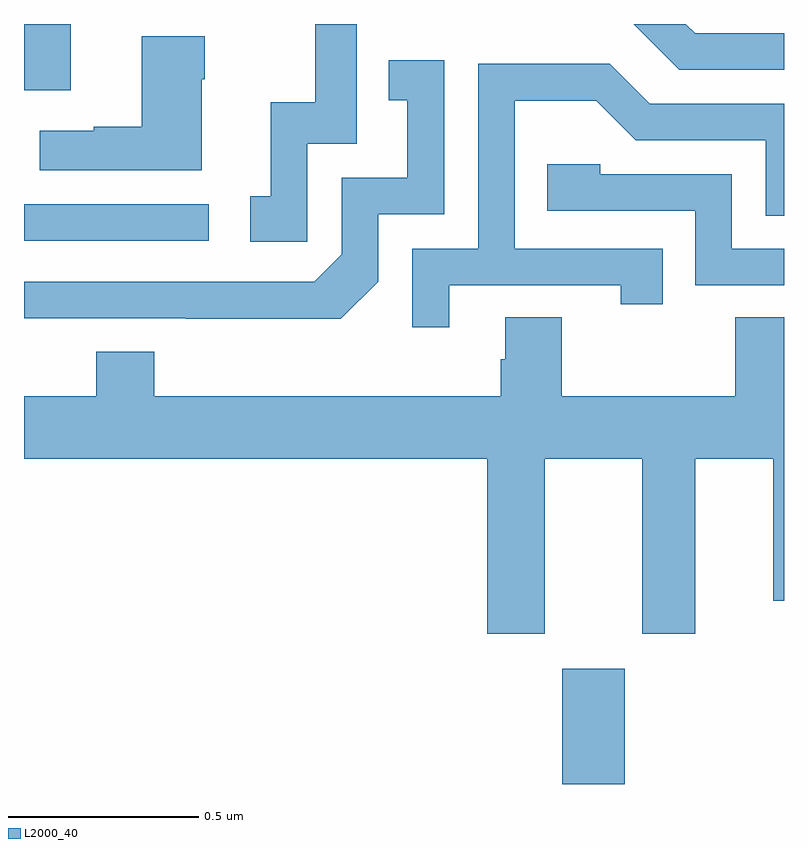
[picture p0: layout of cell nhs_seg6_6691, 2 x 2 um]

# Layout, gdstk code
import gdstk
lib = gdstk.Library(unit=1e-6, precision=1e-09)
def R(c, l, rs):  # rectangles x0, y0, x1, y1
    for r in rs: c.add(gdstk.rectangle(r[:2], r[2:], *l))
def P(c, l, *ps):  # polygons
    for p in ps: c.add(gdstk.Polygon(p, *l))
L2000_40 = (2000, 40)

nhs_seg6_6691 = lib.new_cell('nhs_seg6_6691')
R(nhs_seg6_6691, L2000_40, [(200.417,926.5,200.581,926.803), (199,927.93,199.486,928.026), (199,928.326,199.123,928.5)])
P(nhs_seg6_6691, L2000_40, [(199.746,928.185),(199.875,928.185),(199.875,928.5),(199.767,928.5),(199.767,928.294),(199.649,928.294),(199.649,928.047),(199.596,928.047),(199.596,927.927),(199.746,927.927)],
  [(201,928.476),(200.766,928.476),(200.742,928.5),(200.604,928.5),(200.724,928.38),(201,928.38)],
  [(199.468,928.355),(199.476,928.355),(199.476,928.468),(199.31,928.468),(199.31,928.229),(199.184,928.229),(199.184,928.219),(199.041,928.219),(199.041,928.115),(199.468,928.115)],
  [(199.932,927.822),(199.932,927.999),(200.106,927.999),(200.106,928.405),(199.96,928.405),(199.96,928.299),(200.009,928.299),(200.009,928.095),(199.836,928.095),(199.836,927.894),(199.764,927.822),(199,927.822),(199,927.726),(199.426,927.726),(199.426,927.725),(199.834,927.725)],
  [(200.119,927.813),(200.57,927.813),(200.57,927.762),(200.681,927.762),(200.681,927.909),(200.292,927.909),(200.292,928.298),(200.506,928.298),(200.61,928.194),(200.952,928.194),(200.952,927.996),(201,927.996),(201,928.29),(200.647,928.29),(200.542,928.395),(200.196,928.395),(200.196,927.909),(200.022,927.909),(200.022,927.702),(200.119,927.702)],
  [(201,927.909),(200.862,927.909),(200.862,928.104),(200.517,928.104),(200.517,928.131),(200.377,928.131),(200.377,928.008),(200.766,928.008),(200.766,927.813),(201,927.813)],
  [(200.371,927.356),(200.627,927.356),(200.627,926.895),(200.767,926.895),(200.767,927.356),(200.972,927.356),(200.972,926.982),(201,926.982),(201,927.728),(200.872,927.728),(200.872,927.52),(200.415,927.52),(200.415,927.728),(200.267,927.728),(200.267,927.618),(200.255,927.618),(200.255,927.52),(199.343,927.52),(199.343,927.637),(199.19,927.637),(199.19,927.52),(199,927.52),(199,927.356),(200.219,927.356),(200.219,926.895),(200.371,926.895)])

lib.write_gds('nhs_seg6_6691.gds')
